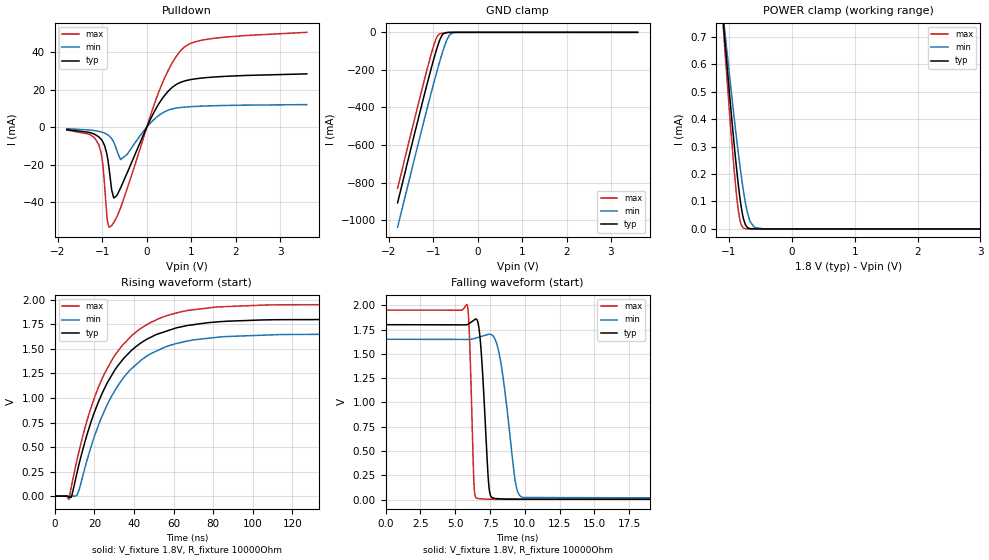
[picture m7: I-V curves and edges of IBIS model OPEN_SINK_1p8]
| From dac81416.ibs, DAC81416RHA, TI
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|   OPEN_SINK_1p8 Model
[Model]   OPEN_SINK_1p8
Model_type   Open_sink
Polarity   Non-Inverting
Vmeas = 0.9
Vref = 1.8
Cref = 2pF
Rref = 10000
|   typ   min   max
C_comp   4.962E-13   4.826E-13   5.030E-13
|  Where Nom  PVT is Nominal Process, 1.8V,  25C
|   Fast PVT is Strong Process,  1.95, -40C
|   Slow PVT is Weak Process,   1.65V, 125C
[Voltage Range]   1.8   1.65   1.95
|Junction Temperature
[Temperature Range]   25   125   -40
[Pullup Reference]   1.8   1.65   1.95
[Pulldown Reference]   0   0   0
[Power Clamp Reference]   1.8   1.65   1.95
[GND Clamp Reference]   0   0   0
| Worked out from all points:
|   slope of the pulldown table from 0 to 0.27 V, typ, clamps not added: 21.7 ohm
|   GND clamp passes 1 mA (typ) near -0.68 V on its own axis
|   falling waveform, V_fixture 1.8V, R_fixture 10000Ohm: 20-80 % time 407ps typ, 806ps min, 238ps max; typ from 1.8 V to 0.003 V
|   rising waveform, V_fixture 1.8V, R_fixture 10000Ohm: 20-80 % time 24ns typ, 24.3ns min, 23.9ns max; typ from 0.003 V to 1.8 V
[Pulldown]
|   Voltage   I(typ)   I(min)   I(max)
-1.8V     -1.33mA    -840.9uA   -1.543mA
-1.087V   -5.058mA   -2.224mA   -9.022mA
-995.4mV  -7.592mA   -2.8mA     -18.86mA
-898.2mV  -14.4mA    -3.818mA   -47.44mA
-844.2mV  -22.92mA   -4.734mA   -53.42mA
-747mV    -37.54mA   -7.797mA   -51.14mA
-676.8mV  -36.58mA   -12.12mA   -48.08mA
-590.4mV  -32.52mA   -17.32mA   -43.15mA
-444.6mV  -24.6mA    -14.61mA   -33.12mA
235.8mV   11.11mA    5.606mA    16.64mA
765mV     23.95mA    10.49mA    40.93mA
3.6V      28.45mA    12.03mA    50.64mA
[GND Clamp]
|   Voltage   I(typ)   I(min)   I(max)
-1.8V     -908.2mA   -1.038A    -830.7mA
-1.195V   -329.7mA   -461mA     -250.5mA
-984.6mV  -141.2mA   -268.9mA   -68.23mA
-936mV    -101.3mA   -226.2mA   -35.51mA
-892.8mV  -68.53mA   -189.2mA   -16.08mA
-806.4mV  -18.36mA   -118.8mA   -5.155mA
-752.4mV  -4.916mA   -78.88mA   -3.208mA
-703.8mV  -1.507mA   -47.65mA   -1.886mA
-628.2mV  -316.4uA   -14.1mA    -575.8uA
-563.4mV  -78.28uA   -3.006mA   -139.4uA
-444.6mV  -3.763uA   -112.5uA   -5.27uA
3.6V      0A         0A         0A
[POWER Clamp]
|   Voltage   I(typ)   I(min)   I(max)
-1.8V     2.783mA    2.42mA     3.116mA
-1.157V   938.5uA    922.9uA    947uA
-1.066V   687.6uA    718.9uA    652.2uA
-968.4mV  432.8uA    510uA      355.6uA
-882mV    225.8uA    334.7uA    128.1uA
-828mV    117.2uA    233.8uA    35.48uA
-768.6mV  36.17uA    136.3uA    3.364uA
-703.8mV  4.96uA     56.97uA    154.3nA
-666mV    1.266uA    28.45uA    22.16nA
-595.8mV  88.71nA    5.502uA    0A
-444.6mV  0A         81.03nA    0A
3.6V      0A         0A         0A
[Ramp]
R_load = 10000
|   typ   min   max
dV/dt_r   1.078/2.38676e-08   0.98653/2.40646e-08   1.16849/2.37811e-08
dV/dt_f   1.078/4.06976e-10   0.98653/8.0458e-10   1.16849/2.3846e-10
[Falling Waveform]
V_fixture = 1.8V
V_fixture_min = 1.65V
V_fixture_max = 1.95V
R_fixture = 10000Ohm
C_fixture = 0F
|   Time   V(typ)   V(min)   V(max)
0s        1.8V       1.65V      1.95V
5.869ns   1.802V     1.648V     2.002V
6.05ns    1.816V     1.648V     1.577V
6.352ns   1.848V     1.657V     155.7mV
6.601ns   1.838V     1.668V     11.4mV
7.428ns   125.2mV    1.702V     3.939mV
7.823ns   11.36mV    1.663V     3.139mV
9.324ns   4.212mV    178.6mV    2.662mV
9.871ns   3.541mV    21.41mV    2.662mV
50ns      3.334mV    5.78mV     2.512mV
[Rising Waveform]
V_fixture = 1.8V
V_fixture_min = 1.65V
V_fixture_max = 1.95V
R_fixture = 10000Ohm
C_fixture = 0F
|   Time   V(typ)   V(min)   V(max)
0s        3.334mV    5.78mV     2.512mV
7.032ns   -2.61mV    3.571mV    -29.71mV
8.389ns   -5.507mV   3.144mV    100.3mV
11.17ns   233.6mV    9.734mV    366.1mV
17.07ns   678.6mV    421.3mV    823.7mV
23.83ns   1.043V     811.8mV    1.193V
38.42ns   1.477V     1.291V     1.625V
60.83ns   1.709V     1.551V     1.86V
107.1ns   1.794V     1.64V      1.945V
5us       1.8V       1.65V      1.95V
